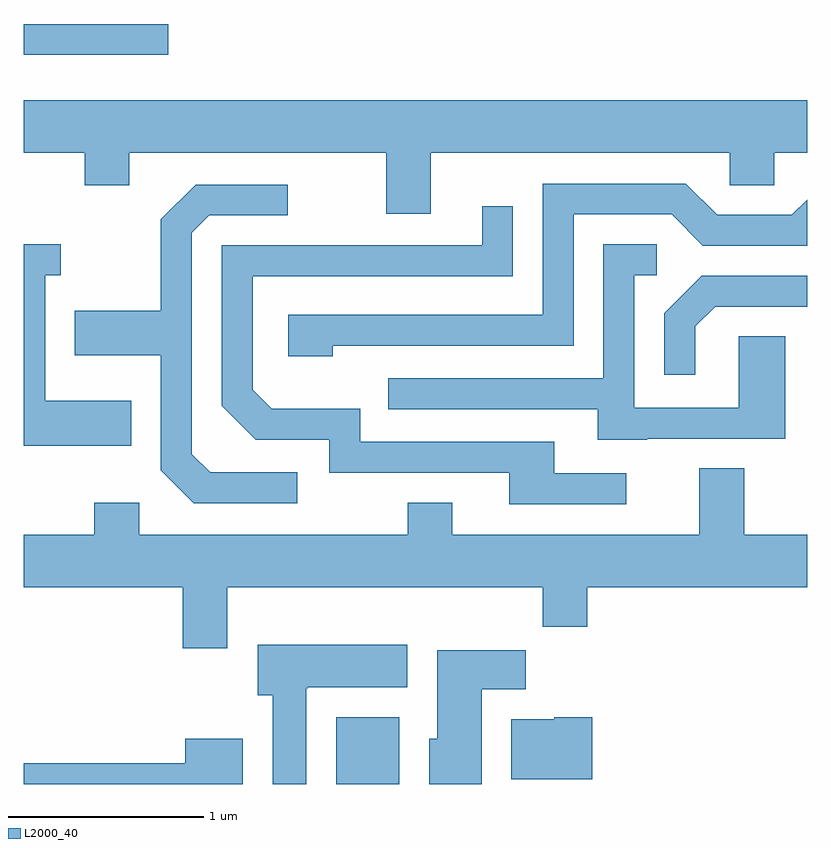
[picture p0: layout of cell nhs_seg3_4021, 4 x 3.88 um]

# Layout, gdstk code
import gdstk
lib = gdstk.Library(unit=1e-6, precision=1e-09)
def R(c, l, rs):  # rectangles x0, y0, x1, y1
    for r in rs: c.add(gdstk.rectangle(r[:2], r[2:], *l))
def P(c, l, *ps):  # polygons
    for p in ps: c.add(gdstk.Polygon(p, *l))
L2000_40 = (2000, 40)

nhs_seg3_4021 = lib.new_cell('nhs_seg3_4021')
R(nhs_seg3_4021, L2000_40, [(305.206,1133.892,305.529,1134.234), (303.611,1137.616,304.348,1137.774)])
P(nhs_seg3_4021, L2000_40, [(305.689,1137.116),(307.216,1137.116),(307.216,1136.951),(307.444,1136.951),(307.444,1137.116),(307.611,1137.116),(307.611,1137.384),(303.611,1137.384),(303.611,1137.116),(303.921,1137.116),(303.921,1136.951),(304.149,1136.951),(304.149,1137.116),(305.461,1137.116),(305.461,1136.806),(305.689,1136.806)],
  [(305.189,1136.131),(306.419,1136.131),(306.419,1136.801),(306.919,1136.801),(307.079,1136.641),(307.611,1136.641),(307.611,1136.876),(307.534,1136.799),(307.152,1136.799),(306.992,1136.959),(306.261,1136.959),(306.261,1136.289),(304.961,1136.289),(304.961,1136.076),(305.189,1136.076)],
  [(305.008,1135.484),(304.562,1135.484),(304.469,1135.577),(304.469,1136.709),(304.557,1136.796),(304.958,1136.796),(304.958,1136.954),(304.489,1136.954),(304.311,1136.777),(304.311,1136.309),(303.871,1136.309),(303.871,1136.081),(304.311,1136.081),(304.311,1135.494),(304.479,1135.326),(305.008,1135.326)],
  [(306.688,1135.479),(306.319,1135.479),(306.319,1135.639),(305.329,1135.639),(305.329,1135.809),(304.877,1135.809),(304.779,1135.907),(304.779,1136.486),(306.109,1136.486),(306.109,1136.843),(305.951,1136.843),(305.951,1136.644),(304.621,1136.644),(304.621,1135.824),(304.794,1135.651),(305.171,1135.651),(305.171,1135.481),(306.091,1135.481),(306.091,1135.321),(306.688,1135.321)],
  [(304.159,1135.849),(303.719,1135.849),(303.719,1136.491),(303.798,1136.491),(303.798,1136.649),(303.611,1136.649),(303.611,1135.621),(304.159,1135.621)],
  [(306.795,1135.656),(307.499,1135.656),(307.499,1136.179),(307.261,1136.179),(307.261,1135.814),(306.729,1135.814),(306.729,1136.491),(306.843,1136.491),(306.843,1136.649),(306.571,1136.649),(306.571,1135.964),(305.473,1135.964),(305.473,1135.806),(306.541,1135.806),(306.541,1135.651),(306.795,1135.651)],
  [(307.039,1136.229),(307.142,1136.331),(307.611,1136.331),(307.611,1136.489),(307.074,1136.489),(306.881,1136.297),(306.881,1135.983),(307.039,1135.983)],
  [(304.649,1134.896),(306.261,1134.896),(306.261,1134.696),(306.489,1134.696),(306.489,1134.896),(307.611,1134.896),(307.611,1135.164),(307.289,1135.164),(307.289,1135.504),(307.061,1135.504),(307.061,1135.164),(305.799,1135.164),(305.799,1135.329),(305.571,1135.329),(305.571,1135.164),(304.199,1135.164),(304.199,1135.329),(303.971,1135.329),(303.971,1135.164),(303.611,1135.164),(303.611,1134.896),(304.421,1134.896),(304.421,1134.586),(304.649,1134.586)],
  [(305.054,1134.38),(305.06,1134.38),(305.06,1134.386),(305.569,1134.386),(305.569,1134.604),(304.806,1134.604),(304.806,1134.346),(304.881,1134.346),(304.881,1133.892),(305.054,1133.892)],
  [(305.949,1134.376),(306.174,1134.376),(306.174,1134.574),(305.721,1134.574),(305.721,1134.124),(305.681,1134.124),(305.681,1133.892),(305.949,1133.892)],
  [(306.514,1134.234),(306.32,1134.234),(306.32,1134.224),(306.101,1134.224),(306.101,1133.916),(306.514,1133.916)],
  [(304.729,1134.124),(304.436,1134.124),(304.436,1133.999),(303.611,1133.999),(303.611,1133.892),(304.729,1133.892)])

lib.write_gds('nhs_seg3_4021.gds')
